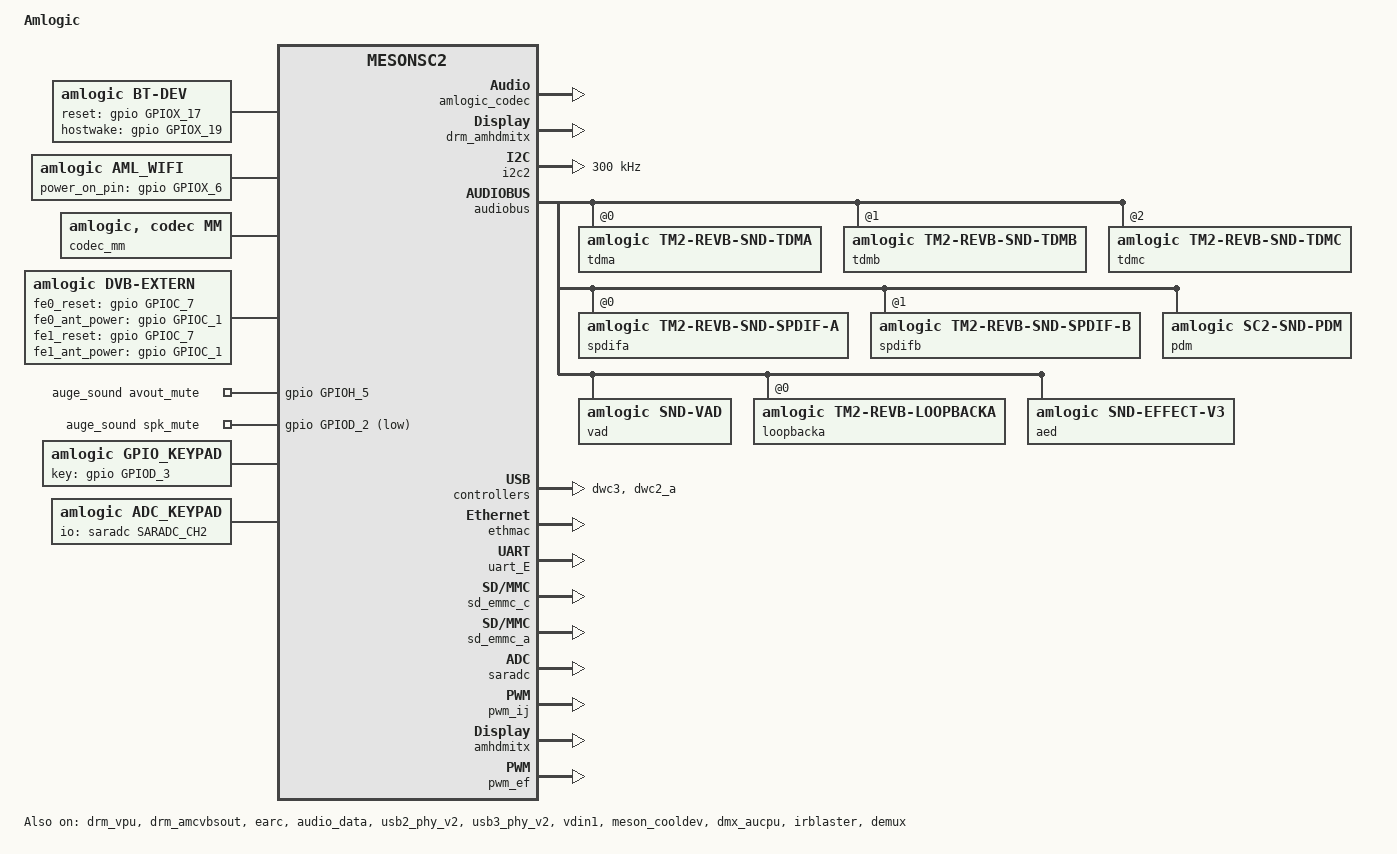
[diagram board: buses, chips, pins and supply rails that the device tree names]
/*
 * arch/arm/boot/dts/amlogic/sc2_s905x4_ah212_drm.dts
 *
 * Copyright (C) 2017 Amlogic, Inc. All rights reserved.
 *
 * This program is free software; you can redistribute it and/or modify
 * it under the terms of the GNU General Public License as published by
 * the Free Software Foundation; either version 2 of the License, or
 * (at your option) any later version.
 *
 * This program is distributed in the hope that it will be useful, but WITHOUT
 * ANY WARRANTY; without even the implied warranty of MERCHANTABILITY or
 * FITNESS FOR A PARTICULAR PURPOSE.  See the GNU General Public License for
 * more details.
 *
 */

/dts-v1/;

#include "mesonsc2.dtsi"
#include "mesonsc2_drm.dtsi"
#include "partition_mbox_normal_dynamic.dtsi"
//#include "mesonsm1_skt-panel.dtsi"

/ {
	model = "Amlogic";
	amlogic-dt-id = "sc2_s905x4_ah212";
	compatible = "amlogic, sc2";
	interrupt-parent = <&gic>;
	#address-cells = <1>;
	#size-cells = <1>;

	aliases {
		serial0 = &uart_B;
		serial1 = &uart_E;
		serial3 = &uart_C;
		serial4 = &uart_D;
		serial5 = &uart_A;
		tsensor0 = &p_tsensor;
		tsensor1 = &d_tsensor;
		i2c0 = &i2c0;
		i2c1 = &i2c1;
		i2c2 = &i2c2;
		i2c3 = &i2c3;
		spi0 = &spifc;
		spi1 = &spicc0;
		spi2 = &spicc1;
	};

	memory@00000000 {
		device_type = "memory";
		linux,usable-memory = <0x000000 0x80000000>;
	};

	reserved-memory {
		#address-cells = <1>;
		#size-cells = <1>;
		ranges;
		/* global autoconfigured region for contiguous allocations */
		ramoops@0x08400000 {
			compatible = "ramoops";
			reg = <0x08400000 0x00100000>;
			record-size = <0x8000>;
			console-size = <0x8000>;
			ftrace-size = <0x40000>;
		};

		secmon_reserved:linux,secmon {
			compatible = "shared-dma-pool";
			reusable;
			size = <0x3400000>;
			alignment = <0x400000>;
			alloc-ranges = <0x05000000 0x3400000>;
		};

		logo_reserved:linux,meson-fb {
			compatible = "shared-dma-pool";
			reusable;
			size = <0x800000>;
			alignment = <0x400000>;
			alloc-ranges = <0x7f800000 0x800000>;
		};
		dsp_fw_reserved:linux,dsp_fw {
			compatible = "shared-dma-pool";
			reusable;
			size = <0x00800000>;
			alignment = <0x400000>;
			alloc-ranges = <0x30000000 0x00800000>;
		};
		ion_cma_reserved:linux,ion-dev {
			compatible = "shared-dma-pool";
			reusable;
			size = <0x8000000>;
			alignment = <0x400000>;
			alloc-ranges = <0x30000000 0x50000000>;
			no-kernel-map;
		};

		//di_reserved:linux,di {
			//compatible = "amlogic, di-mem";
			/* buffer_size = 3621952(yuv422 8bit) */
			/* 4179008(yuv422 10bit full pack mode) */
			/** 10x3621952=34.6M(0x23) support 8bit **/
			/** 10x4736064=45.2M(0x2e) support 12bit **/
			/** 10x4179008=40M(0x28) support 10bit **/
			//size = <0x2800000>;
			//no-map;
		//};
		/*di CMA pool */
		di_cma_reserved:linux,di_cma {
			compatible = "shared-dma-pool";
			status = "disable";
			reusable;
			/* buffer_size = 3621952(yuv422 8bit)
			 *  | 4736064(yuv422 10bit)
			 *  | 4074560(yuv422 10bit full pack mode)
			 * 10x3621952=34.6M(0x23) support 8bit
			 * 10x4736064=45.2M(0x2e) support 12bit
			 * 10x4074560=40M(0x28) support 10bit
			 */
			//size = <0x0B000000>;
			size = <0x0>;
			alignment = <0x400000>;
		};
		/*  POST PROCESS MANAGER */
		ppmgr_reserved:linux,ppmgr {
			compatible = "shared-dma-pool";
			size = <0x0>;
		};

		codec_mm_cma:linux,codec_mm_cma {
			compatible = "shared-dma-pool";
			reusable;
			/* ion_codec_mm max can alloc size 80M*/
			size = <0x1b000000>;
			alignment = <0x400000>;
			linux,contiguous-region;
		};
		/* codec shared reserved */
		codec_mm_reserved:linux,codec_mm_reserved {
			compatible = "amlogic, codec-mm-reserved";
			size = <0x0>;
			alignment = <0x100000>;
			//no-map;
		};

		/*  vdin1 CMA pool */
		vdin1_cma_reserved:linux,vdin1_cma {
			compatible = "shared-dma-pool";
			reusable;
			/* 1920x1080x2x4  =16 M */
			size = <0x01000000>;
			alignment = <0x400000>;
		};

		vm0_cma_reserved:linux,vm0_cma {
			compatible = "shared-dma-pool";
			reusable;
			size = <0x2000000>;
			alignment = <0x400000>;
		};
	};

	cma_shrinker {
		compatible = "amlogic, cma-shrinker";
		status = "okay";
		adj  = <0 100 200 250 900 950>;
		free = <8192 12288 16384 24576 28672 32768>;
	};

	amlogic_battery:dummy-battery {
		compatible = "amlogic, dummy-battery";
		status = "disabled";
	};

	amlogic_charger:dummy-charger {
		compatible = "amlogic, dummy-charger";
		status = "disabled";
	};

	gpioleds {
		compatible = "gpio-leds";
		status = "disabled";

		net_red {
			label="net_red";
			/*gpios=<&gpio GPIOA_14 GPIO_ACTIVE_LOW>;*/
			default-state ="on";
		};

		net_green {
			label="net_green";
			/*gpios=<&gpio GPIOA_15 GPIO_ACTIVE_HIGH>;*/
			default-state ="on";
		};

		remote_led {
			label = "remote_led";
			/*gpios = <&gpio_ao GPIOAO_10 GPIO_ACTIVE_LOW>;*/
			default-state = "off";
			linux,default-trigger = "rc_feedback";
		};

		sys_led {
			label="sys_led";
			//gpios=<&gpio_ao GPIOAO_11 GPIO_ACTIVE_LOW>;
			default-state ="on";
		};
	};

	cvbsout {
		compatible = "amlogic, cvbsout-sc2";
		status = "okay";
		clock-names = "venci_top_gate",
			"venci_0_gate",
			"venci_1_gate",
			"vdac_clk_gate";
		/* clk path */
		/* 0:vid_pll vid2_clk */
		/* 1:gp0_pll vid2_clk */
		/* 2:vid_pll vid1_clk */
		/* 3:gp0_pll vid1_clk */
		clk_path = <0>;

		/* performance: reg_address, reg_value */
		performance_pal = <0x1bf0  0x3
			0x1b56  0x333
			0x1b12  0x8180
			0x1b05  0xf0
			0x1c59  0xed66
			0xffff  0x0>; /* ending flag */

	};

	bt-dev{
		compatible = "amlogic, bt-dev";
		dev_name = "bt-dev";
		status = "okay";
		gpio_reset = <&gpio       GPIOX_17       GPIO_ACTIVE_HIGH>;
		gpio_hostwake = <&gpio       GPIOX_19       GPIO_ACTIVE_HIGH>;
	};

	wifi{
		compatible = "amlogic, aml_wifi";
		dev_name = "aml_wifi";
		status = "okay";
		interrupt_pin = <&gpio       GPIOX_7       GPIO_ACTIVE_HIGH>;
		irq_trigger_type = "GPIO_IRQ_LOW";
		power_on_pin = <&gpio       GPIOX_6       GPIO_ACTIVE_HIGH>;
		pinctrl-names = "default";
		pinctrl-0 = <&pwm_e_pins>;
		pwm_config = <&wifi_pwm_conf>;
	};

	wifi_pwm_conf:wifi_pwm_conf{
		pwm_channel1_conf {
			pwms = <&pwm_ef MESON_PWM_0 30541 0>;
			duty-cycle = <15270>;
			times = <10>;
		};
		pwm_channel2_conf {
			pwms = <&pwm_ef MESON_PWM_2 30500 0>;
			duty-cycle = <15250>;
			times = <12>;
		};
	};

	picdec_cma_reserved:linux,picdec {
		compatible = "shared-dma-pool";
		reusable;
		size = <0x0>;
		alignment = <0x0>;
		linux,contiguous-region;
	};

	codec_mm {
		compatible = "amlogic, codec, mm";
		memory-region = <&codec_mm_cma &codec_mm_reserved>;
		dev_name = "codec_mm";
		status = "okay";
	};

	picdec {
		compatible = "amlogic, picdec";
		memory-region = <&picdec_cma_reserved>;
		dev_name = "picdec";
		status = "okay";
	};

	partitions: partitions{
		parts = <14>;
		part-0 = <&logo>;
		part-1 = <&recovery>;
		part-2 = <&misc>;
		part-3 = <&dto>;
		part-4 = <&cri_data>;
		part-5 = <&param>;
		part-6 = <&boot>;
		part-7 = <&rsv>;
		part-8 = <&tee>;
		part-9 = <&vendor>;
		part-10 = <&odm>;
		part-11 = <&system>;
		part-12 = <&cache>;
		part-13 = <&data>;

		logo:logo{
			pname = "logo";
			size = <0x0 0x800000>;
			mask = <1>;
		};
		recovery:recovery{
			pname = "recovery";
			size = <0x0 0x1800000>;
			mask = <1>;
		};
		misc:misc{
			pname = "misc";
			size = <0x0 0x800000>;
			mask = <1>;
		};
		dto:dto{
			pname = "dto";
			size = <0x0 0x800000>;
			mask = <1>;
		};
		cri_data:cri_data{
			pname = "cri_data";
			size = <0x0 0x800000>;
			mask = <2>;
		};
		rsv:rsv{
			pname = "rsv";
			size = <0x0 0x1000000>;
			mask = <1>;
		};
		param:param{
			pname = "param";
			size = <0x0 0x1000000>;
			mask = <2>;
		};
		boot:boot{
			pname = "boot";
			size = <0x0 0x1000000>;
			mask = <1>;
		};
		tee:tee{
			pname = "tee";
			size = <0x0 0x2000000>;
			mask = <1>;
		};
		vendor:vendor{
			pname = "vendor";
			size = <0x0 0x10000000>;
			mask = <1>;
		};
		odm:odm{
			pname = "odm";
			size = <0x0 0x10000000>;
			mask = <1>;
		};
		system:system{
			pname = "system";
			size = <0x0 0x80000000>;
			mask = <1>;
		};
		cache:cache{
			pname = "cache";
			size = <0x0 0x46000000>;
			mask = <2>;
		};
		data:data{
			pname = "data";
			size = <0xffffffff 0xffffffff>;
			mask = <4>;
		};
	};

	ppmgr {
		compatible = "amlogic, ppmgr";
		memory-region = <&ppmgr_reserved>;
		dev_name = "ppmgr";
		status = "okay";
	};

	multi-di {
		compatible = "amlogic, dim-sc2";
		status = "okay";
		/* 0:use reserved; 1:use cma; 2:use cma as reserved */
		flag_cma = <4>;	//<1>;
		//memory-region = <&di_reserved>;
		memory-region = <&di_cma_reserved>;
		interrupts = <0 203 1
				0 202 1>;
		interrupt-names = "pre_irq", "post_irq";
		clocks = <&clkc CLKID_VPU_CLKB_GATE>,
			<&clkc CLKID_VPU_CLKB_TMP_MUX>;
		clock-names = "vpu_clkb_gate",
			"vpu_clkb_tmp_mux";
		clock-range = <334 667>;
		/* buffer-size = <3621952>;(yuv422 8bit) */
		buffer-size = <4074560>;/*yuv422 fullpack*/
		/* reserve-iomap = "true"; */
		/* if enable nr10bit, set nr10bit-support to 1 */
		post-wr-support = <1>;
		nr10bit-support = <1>;
		nrds-enable = <1>;
		pps-enable = <1>;
	};
	ionvideo {
		compatible = "amlogic, ionvideo";
		dev_name = "ionvideo";
		status = "okay";
	};

	amlvideo2_0 {
		compatible = "amlogic, amlvideo2";
		dev_name = "amlvideo2";
		status = "okay";
		amlvideo2_id = <0>;
		cma_mode = <1>;
	};

	amlvideo2_1 {
		compatible = "amlogic, amlvideo2";
		dev_name = "amlvideo2";
		status = "okay";
		amlvideo2_id = <1>;
		cma_mode = <1>;
	};

	dvb-extern {
		compatible = "amlogic, dvb-extern";
		dev_name = "dvb-extern";
		status = "okay";

		fe_num = <1>;
		fe0_demod = "cxd2856";
		fe0_i2c_adap_id = <&i2c2>;
		fe0_demod_i2c_addr = <0xD8>;
		fe0_reset_value = <0>;
		fe0_reset_gpio = <&gpio GPIOC_7 GPIO_ACTIVE_HIGH>;
		fe0_reset_dir = <1>; /* 0: out, 1: in. */
		fe0_ant_poweron_value = <0>;
		fe0_ant_power_gpio = <&gpio GPIOC_1 GPIO_ACTIVE_HIGH>;
		fe0_ts  = <0>;
		fe0_tuner0 = <0>; /* T/C */
		fe0_tuner1 = <1>; /* S */

		fe1_demod = "cxd2856";
		fe1_i2c_adap_id = <&i2c2>;
		fe1_demod_i2c_addr = <0xCA>;
		fe1_reset_value = <0>;
		fe1_reset_gpio = <&gpio GPIOC_7 GPIO_ACTIVE_HIGH>;
		fe1_reset_dir = <1>; /* 0: out, 1: in. */
		fe1_ant_poweron_value = <0>;
		fe1_ant_power_gpio = <&gpio GPIOC_1 GPIO_ACTIVE_HIGH>;
		fe1_ts  = <1>;
		fe1_tuner0 = <0>; /* T/C */
		fe1_tuner1 = <1>; /* S */

		tuner_num = <2>; /* for extern demod use tuner */
		tuner0_name = "r836_tuner";
		tuner1_name = "av2018_tuner";
	};

	demux {
		compatible = "amlogic sc2, dvb-demux";
		dev_name = "dvb-demux";
		status = "okay";

		reg = <0xfe000000 0x480000>;

		dmxdev_num = <4>;

		tsn_from = "demod";

		/*single demod setting */
		ts0_sid = <0x20>;
		ts0 = "serial-4wire"; /* tsinA: serial-4wire, serial-3wire */
		ts0_control = <0x0>;
		ts0_invert = <0>;

		ts1_sid = <0x21>;
		ts1 = "serial-4wire";
		ts1_control = <0x0>;
		ts1_invert = <0>;

		pinctrl-names = "s_ts0", "s_ts1";
		pinctrl-0 = <&dvb_s_ts0_pins>;
		pinctrl-1 = <&dvb_s_ts1_pins>;
	};

	/* SMC */
	smartcard {
		compatible = "amlogic,smartcard";
		dev_name = "smartcard";
		status = "disabled";

		reg = <0xfe000000 0x480000>;
		clocks = <&clkc CLKID_SMARTCARD>;
		clock-names = "smartcard";
	};

	unifykey{
		compatible = "amlogic, unifykey";
		status = "okay";
		unifykey-num = <20>;
		unifykey-index-0 = <&keysn_0>;
		unifykey-index-1 = <&keysn_1>;
		unifykey-index-2 = <&keysn_2>;
		unifykey-index-3 = <&keysn_3>;
		unifykey-index-4 = <&keysn_4>;
		unifykey-index-5 = <&keysn_5>;
		unifykey-index-6 = <&keysn_6>;
		unifykey-index-7 = <&keysn_7>;
		unifykey-index-8 = <&keysn_8>;
		unifykey-index-9 = <&keysn_9>;
		unifykey-index-10= <&keysn_10>;
		unifykey-index-11= <&keysn_11>;
		unifykey-index-12= <&keysn_12>;
		unifykey-index-13= <&keysn_13>;
		unifykey-index-14= <&keysn_14>;
		unifykey-index-15= <&keysn_15>;
		unifykey-index-16= <&keysn_16>;
		unifykey-index-17= <&keysn_17>;
		unifykey-index-18= <&keysn_18>;
		unifykey-index-19= <&keysn_19>;

		keysn_0: key_0{
			key-name = "usid";
			key-device = "normal";
			key-permit = "read","write","del";
		};
		keysn_1:key_1{
			key-name = "mac";
			key-device = "normal";
			key-permit = "read","write","del";
		};
		keysn_2:key_2{
			key-name = "hdcp";
			key-device = "secure";
			key-type = "sha1";
			key-permit = "read","write","del";
		};
		keysn_3:key_3{
			key-name = "secure_boot_set";
			key-device = "efuse";
			key-permit = "write";
		};
		keysn_4:key_4{
			key-name = "mac_bt";
			key-device = "normal";
			key-permit = "read","write","del";
			key-type  = "mac";
		};
		keysn_5:key_5{
			key-name = "mac_wifi";
			key-device = "normal";
			key-permit = "read","write","del";
			key-type = "mac";
		};
		keysn_6:key_6{
			key-name = "hdcp2_tx";
			key-device = "normal";
			key-permit = "read","write","del";
		};
		keysn_7:key_7{
			key-name = "hdcp2_rx";
			key-device = "normal";
			key-permit = "read","write","del";
		};
		keysn_8:key_8{
			key-name = "widevinekeybox";
			key-device = "secure";
			key-permit = "read","write","del";
		};
		keysn_9:key_9{
			key-name = "deviceid";
			key-device = "normal";
			key-permit = "read","write","del";
		};
		keysn_10:key_10{
			key-name = "hdcp22_fw_private";
			key-device = "secure";
			key-permit = "read","write","del";
		};
		keysn_11:key_11{
			key-name = "PlayReadykeybox25";
			key-device = "secure";
			key-permit = "read","write","del";
		};
		keysn_12:key_12{
			key-name = "prpubkeybox";// PlayReady
			key-device = "secure";
			key-permit = "read","write","del";
		};
		keysn_13:key_13{
			key-name = "prprivkeybox";// PlayReady
			key-device = "secure";
			key-permit = "read","write","del";
		};
		keysn_14:key_14{
			key-name = "attestationkeybox";// attestation key
			key-device = "secure";
			key-permit = "read","write","del";
		};
		keysn_15:key_15{
			key-name = "region_code";
			key-device = "normal";
			key-permit = "read","write","del";
		};
		keysn_16:key_16{
			key-name = "netflix_mgkid";
			key-device = "secure";
			key-permit = "read","write","del";
		};
		keysn_17:key_17{
			key-name = "attestationdevidbox";// attest dev id box
			key-device = "secure";
			key-permit = "read","write","del";
		};
		keysn_18:key_18{
			key-name = "oemkey";
			key-device = "normal";
			key-permit = "read","write","del";
		};
		keysn_19:key_19{
			key-name = "KEY_PROVISION_XXX";
			key-device = "provision";
			key-permit = "write";
		};
	};//End unifykey

	efusekey:efusekey{
		keynum = <4>;
		key0 = <&key_0>;
		key1 = <&key_1>;
		key2 = <&key_2>;
		key3 = <&key_3>;
		key_0:key_0{
			keyname = "mac";
			offset = <0>;
			size = <6>;
		};
		key_1:key_1{
			keyname = "mac_bt";
			offset = <6>;
			size = <6>;
		};
		key_2:key_2{
			keyname = "mac_wifi";
			offset = <12>;
			size = <6>;
		};
		key_3:key_3{
			keyname = "usid";
			offset = <18>;
			size = <16>;
		};
	};//End efusekey

	amlvecm {
		compatible = "amlogic, vecm";
		dev_name = "aml_vecm";
		status = "okay";
		gamma_en = <0>;/*1:enabel ;0:disable*/
		wb_en = <0>;/*1:enabel ;0:disable*/
		cm_en = <0>;/*1:enabel ;0:disable*/
		/*0: 709/601  1: bt2020*/
		tx_op_color_primary = <0>;
	};

	amdolby_vision {
		compatible = "amlogic, dolby_vision_sc2";
		dev_name = "aml_amdolby_vision_driver";
		status = "okay";
		tv_mode = <0>;/*1:enabel ;0:disable*/
	};

	/* Audio Related start */
	pdm_codec:dummy{
		#sound-dai-cells = <0>;
		compatible = "amlogic, pdm_dummy_codec";
		status = "okay";
	};
	dummy_codec:dummy{
		#sound-dai-cells = <0>;
		compatible = "amlogic, aml_dummy_codec";
		status = "okay";
	};
	amlogic_codec:t9015{
		#sound-dai-cells = <0>;
		compatible = "amlogic, sc2_codec_T9015";
		reg = <0xFE01A000 0x2000>;
		is_auge_used = <1>; /* meson or auge chipset used */
		tocodec_inout = <1>;
		tdmout_index = <1>;
		ch0_sel = <0>;
		ch1_sel = <1>;

		reset-names = "acodec";
		resets = <&reset RESET_ACODEC>;

		status = "okay";
	};
	audio_effect:eqdrc{
		/*eq_enable = <1>;*/
		/*drc_enable = <1>;*/
		/*
		 * 0:tdmout_a
		 * 1:tdmout_b
		 * 2:tdmout_c
		 * 3:spdifout
		 * 4:spdifout_b
		 */
		eqdrc_module = <1>;
		/* max 0xf, each bit for one lane, usually one lane */
		lane_mask = <0x1>;
		/* max 0xff, each bit for one channel */
		channel_mask = <0x3>;
	};
	auge_sound {
		compatible = "amlogic, g12a-sound-card";
		aml-audio-card,name = "AML-AUGESOUND";

		/*avout mute gpio*/
		avout_mute-gpios = <&gpio GPIOH_5 GPIO_ACTIVE_HIGH>;

		spk_mute-gpios = <&gpio GPIOD_2 GPIO_ACTIVE_LOW>;

		aml-audio-card,dai-link@0 {
			format = "dsp_a";
			mclk-fs = <512>;
			//continuous-clock;
			//bitclock-inversion;
			//frame-inversion;
			/* master mode */
			bitclock-master = <&tdma>;
			frame-master = <&tdma>;
			/* slave mode */
			/*
			 * bitclock-master = <&tdmacodec>;
			 * frame-master = <&tdmacodec>;
			 */
			suffix-name = "alsaPORT-pcm";
			tdmacpu: cpu {
				sound-dai = <&tdma>;
				dai-tdm-slot-tx-mask =
							<1>;
				dai-tdm-slot-rx-mask =
							<1>;
				dai-tdm-slot-num = <2>;
				dai-tdm-slot-width = <16>;
				system-clock-frequency = <256000>;
			};
			tdmacodec: codec {
				sound-dai = <&dummy_codec>;
			};
		};

		aml-audio-card,dai-link@1 {
			format = "i2s";// "dsp_a";
			mclk-fs = <256>;
			//continuous-clock;
			//bitclock-inversion;
			//frame-inversion;
			/* master mode */
			bitclock-master = <&tdmb>;
			frame-master = <&tdmb>;
			/* slave mode */
			//bitclock-master = <&tdmbcodec>;
			//frame-master = <&tdmbcodec>;
			/* suffix-name, sync with android audio hal
			 * what's the dai link used for
			 */
			suffix-name = "alsaPORT-i2s";
			cpu {
				sound-dai = <&tdmb>;
				dai-tdm-slot-tx-mask = <1 1>;
				dai-tdm-slot-rx-mask = <1 1>;
				dai-tdm-slot-num = <2>;
				/*
				 * dai-tdm-slot-tx-mask =
				 *	<1 1 1 1 1 1 1 1>;
				 * dai-tdm-slot-rx-mask =
				 *	<1 1 1 1 1 1 1 1>;
				 * dai-tdm-slot-num = <8>;
				 */
				dai-tdm-slot-width = <32>;
				system-clock-frequency = <12288000>;
			};
			tdmbcodec: codec {
				sound-dai = <&dummy_codec &dummy_codec
				&amlogic_codec /*&ad82584f_62*/>;
			};
		};

		aml-audio-card,dai-link@2 {
			format = "i2s";
			mclk-fs = <256>;
			//continuous-clock;
			//bitclock-inversion;
			//frame-inversion;
			/* master mode */
			bitclock-master = <&tdmc>;
			frame-master = <&tdmc>;
			/* slave mode */
			//bitclock-master = <&tdmccodec>;
			//frame-master = <&tdmccodec>;
			/* suffix-name, sync with android audio hal used for */
			suffix-name = "alsaPORT-i2s2hdmi";
			cpu {
				sound-dai = <&tdmc>;
				dai-tdm-slot-tx-mask = <1 1>;
				dai-tdm-slot-rx-mask = <1 1>;
				dai-tdm-slot-num = <2>;
				dai-tdm-slot-width = <32>;
				system-clock-frequency = <12288000>;
			};
			tdmccodec: codec {
				sound-dai = <&dummy_codec>;
			};
		};

		aml-audio-card,dai-link@3 {
			mclk-fs = <64>;
			/* suffix-name, sync with android audio hal
			 * what's the dai link used for
			 */
			suffix-name = "alsaPORT-pdm-builtinmic";
			cpu {
				sound-dai = <&pdm>;
			};
			codec {
				sound-dai = <&pdm_codec>;
			};
		};

		aml-audio-card,dai-link@4 {
			mclk-fs = <128>;
			/* suffix-name, sync with android audio hal used for */
			suffix-name = "alsaPORT-spdif";
			cpu {
				sound-dai = <&spdifa>;
				system-clock-frequency = <6144000>;
			};
			codec {
				sound-dai = <&dummy_codec>;
			};
		};
		/* spdif_b to hdmi, only playback */
		aml-audio-card,dai-link@5 {
			mclk-fs = <128>;
			continuous-clock;
			/* suffix-name, sync with android audio hal
			 * what's the dai link used for
			 */
			suffix-name = "alsaPORT-spdifb";
			cpu {
				sound-dai = <&spdifb>;
				system-clock-frequency = <6144000>;
			};
			codec {
				sound-dai = <&dummy_codec>;
			};
		};
		aml-audio-card,dai-link@6 {
			mclk-fs = <256>;
			suffix-name = "alsaPORT-earc";
			cpu {
				sound-dai = <&earc>;
				system-clock-frequency = <12288000>;
			};
			codec {
				sound-dai = <&dummy_codec>;
			};
		};

		aml-audio-card,dai-link@7 {
			mclk-fs = <256>;
			continuous-clock;
			suffix-name = "alsaPORT-loopback";
			cpu {
				sound-dai = <&loopbacka>;
				system-clock-frequency = <12288000>;
			};
			codec {
				sound-dai = <&dummy_codec>;
			};
		};
	};
	audiolocker: locker {
		compatible = "amlogic, audiolocker";
		clocks = <&clkaudio CLKID_AUDIO_LOCKER_OUT
				&clkaudio CLKID_AUDIO_LOCKER_IN
				&clkaudio CLKID_AUDIO_MCLK_D
				&clkaudio CLKID_AUDIO_MCLK_E
				&clkc CLKID_MPLL1
				&clkc CLKID_MPLL2>;
		clock-names = "lock_out", "lock_in", "out_src",
					"in_src", "out_calc", "in_ref";
		interrupts = <GIC_SPI 1 IRQ_TYPE_EDGE_RISING>;
		interrupt-names = "irq";
		frequency = <49000000>; /* pll */
		dividor = <49>; /* locker's parent */
		status = "disabled";
	};
	/* Audio Related end */

	cpu_opp_table0: cpu_opp_table0 {
		compatible = "operating-points-v2";
		status = "okay";
		opp-shared;

		opp00 {
			opp-hz = /bits/ 64 <100000000>;
			opp-microvolt = <779000>;
		};
		opp01 {
			opp-hz = /bits/ 64 <250000000>;
			opp-microvolt = <779000>;
		};
		opp02 {
			opp-hz = /bits/ 64 <500000000>;
			opp-microvolt = <779000>;
		};
		opp03 {
			opp-hz = /bits/ 64 <667000000>;
			opp-microvolt = <799000>;
		};
		opp04 {
			opp-hz = /bits/ 64 <1000000000>;
			opp-microvolt = <819000>;
		};
		opp05 {
			opp-hz = /bits/ 64 <1200000000>;
			opp-microvolt = <829000>;
		};
		opp06 {
			opp-hz = /bits/ 64 <1404000000>;
			opp-microvolt = <839000>;
		};
		opp07 {
			opp-hz = /bits/ 64 <1500000000>;
			opp-microvolt = <849000>;
		};
		opp08 {
			opp-hz = /bits/ 64 <1608000000>;
			opp-microvolt = <879000>;
		};
		opp09 {
			opp-hz = /bits/ 64 <1704000000>;
			opp-microvolt = <919000>;
		};
		opp10 {
			opp-hz = /bits/ 64 <1800000000>;
			opp-microvolt = <959000>;
		};
		opp11 {
			opp-hz = /bits/ 64 <1908000000>;
			opp-microvolt = <1019000>;
		};
		opp12 {
			opp-hz = /bits/ 64 <2000000000>;
			opp-microvolt = <1049000>;
		};
	};

	cpufreq-meson {
		compatible = "amlogic, cpufreq-meson";
		status = "okay";
	};

	gpio_keypad{
		compatible = "amlogic, gpio_keypad";
		status = "okay";
		scan_period = <20>;
		key_num = <1>;
		key_name = "bluetooth";
		key_code = <600>;
		key-gpios = <&gpio  GPIOD_3  GPIO_ACTIVE_HIGH>;
		detect_mode = <0>;/*0:polling mode, 1:irq mode*/
	};

	adc_keypad {
		compatible = "amlogic, adc_keypad";
		status = "okay";
		key_name = "menu", "vol-", "vol+", "esc", "home";
		key_num = <5>;
		io-channels = <&saradc SARADC_CH2>;
		io-channel-names = "key-chan-2";
		key_chan = <SARADC_CH2 SARADC_CH2 SARADC_CH2
			SARADC_CH2 SARADC_CH2>;
		key_code = <139 114 115 1 102>;
		key_val = <0 143 266 389 512>; //val=voltage/1800mV*1023
		key_tolerance = <40 40 40 40 40>;
	};

}; /* end of / */

&vddcpu0 {
	pinctrl-names = "default";
	pinctrl-0 = <&pwm_j_pins1>;
	status = "okay";
};

&meson_fb {
	status = "disabled";
	display_size_default = <1920 1080 1920 2160 32>;
	mem_size = <0x00800000 0x1980000 0x100000 0x100000 0x800000>;
	logo_addr = "0x7f800000";
	mem_alloc = <0>;
	pxp_mode = <0>; /** 0:normal mode 1:pxp mode */
};

&drm_vpu {
	status = "okay";
	logo_addr = "0x7f800000";
};

&drm_amhdmitx {
	status = "okay";
	hdcp = "disabled";
};

&drm_amcvbsout {
	status = "okay";
};

&drm_lcd {
	status = "disabled";
};

&i2c0 {
	status = "disabled";
	pinctrl-names="default";
	pinctrl-0=<&i2c0_master_pins2>;
	clock-frequency = <400000>;

	gt9xx@5d {
		compatible = "goodix,gt9xx";
		status = "disabled";
		reg = <0x5d>;
		reset-gpio = <&gpio GPIOZ_9 0x00>;
		irq-gpio = <&gpio GPIOZ_3 0x00>;
	};

	ftxx@38 {
		compatible = "focaltech,fts";
		status = "disabled";
		reg = <0x38>;
		reset-gpio = <&gpio GPIOZ_9 0x00>;
		irq-gpio = <&gpio GPIOZ_3 0x00>;
		x_max = <600>;
		y_max = <1024>;
		max-touch-number = <10>;
	};
};

&i2c2 {
	status = "okay";
	pinctrl-names="default";
	pinctrl-0=<&i2c2_master_pins3>;
	clock-frequency = <300000>;
};

&i2c3 {
	status = "disabled";
	pinctrl-names="default";
	pinctrl-0=<&i2c3_master_pins2>;
	clock-frequency = <300000>; /* default 100k */

	/* for ref board */
	ad82584f_62: ad82584f_62@62 {
		compatible = "ESMT, ad82584f";
		#sound-dai-cells = <0>;
		reg = <0x31>;
		status = "disabled";
		//reset_pin = <&gpio GPIOA_5 0>;
		no_mclk;
	};

	bl_extern_i2c {
		compatible = "bl_extern, i2c";
		dev_name = "lp8556";
		reg = <0x2c>;
		status = "disabled";
	};
};

&audiobus {
	tdma: tdm@0 {
		compatible = "amlogic, tm2-revb-snd-tdma";
		#sound-dai-cells = <0>;
		dai-tdm-lane-slot-mask-in = <0 1>;
		dai-tdm-oe-lane-slot-mask-out = <1 0>;
		dai-tdm-clk-sel = <0>;
		clocks = <&clkaudio CLKID_AUDIO_MCLK_A
				&clkc CLKID_MPLL0>;
		clock-names = "mclk", "clk_srcpll";
		pinctrl-names = "tdm_pins";
		pinctrl-0 = <&tdm_a
			&tdm_d3_pins
			&tdm_d4_pins
			&tdm_clk_pins>;

		status = "okay";
	};

	tdmb: tdm@1 {
		compatible = "amlogic, tm2-revb-snd-tdmb";
		#sound-dai-cells = <0>;
		dai-tdm-lane-slot-mask-in = <0 1 0 0>;
		dai-tdm-lane-slot-mask-out = <1 0 0 0>;
		dai-tdm-clk-sel = <1>;
		clocks = <&clkaudio CLKID_AUDIO_MCLK_B
				&clkaudio CLKID_AUDIO_MCLK_PAD0
				&clkc CLKID_MPLL1
				&clkc CLKID_MPLL0
				&clkaudio CLKID_AUDIO_SPDIFOUT_A>;
		clock-names = "mclk", "mclk_pad", "clk_srcpll",
			"samesource_srcpll", "samesource_clk";
		pinctrl-names = "tdm_pins";
		pinctrl-0 = </*&tdmb_mclk &tdmout_b &tdmin_b*/>;

		/*
		 * 0: tdmout_a;
		 * 1: tdmout_b;
		 * 2: tdmout_c;
		 * 3: spdifout;
		 * 4: spdifout_b;
		 */
		samesource_sel = <3>;

		/*enable default mclk(12.288M), before extern codec start*/
		start_clk_enable = <1>;

		/*tdm clk tuning enable*/
		clk_tuning_enable = <1>;

		status = "okay";
	};

	tdmc: tdm@2 {
		compatible = "amlogic, tm2-revb-snd-tdmc";
		#sound-dai-cells = <0>;
		dai-tdm-lane-slot-mask-out = <1 1 1 1>;
		dai-tdm-clk-sel = <2>;

		clocks = <&clkaudio CLKID_AUDIO_MCLK_C
				&clkc CLKID_MPLL2>;
		clock-names = "mclk", "clk_srcpll";
		i2s2hdmi = <1>;
		status = "okay";
	};

	spdifa: spdif@0 {
		compatible = "amlogic, tm2-revb-snd-spdif-a";
		#sound-dai-cells = <0>;
		clocks = <&clkc CLKID_MPLL0
				&clkc CLKID_FCLK_DIV4
				&clkaudio CLKID_AUDIO_GATE_SPDIFIN
				&clkaudio CLKID_AUDIO_GATE_SPDIFOUT_A
				&clkaudio CLKID_AUDIO_SPDIFIN
				&clkaudio CLKID_AUDIO_SPDIFOUT_A>;
		clock-names = "sysclk", "fixed_clk", "gate_spdifin",
				"gate_spdifout", "clk_spdifin", "clk_spdifout";
		interrupts =
				<GIC_SPI 35 IRQ_TYPE_EDGE_RISING>;

		interrupt-names = "irq_spdifin";
		pinctrl-names = "spdif_pins", "spdif_pins_mute";
		pinctrl-0 = <&spdifout>;
		pinctrl-1 = <&spdifout_a_mute>;

		/*spdif clk tuning enable*/
		clk_tuning_enable = <1>;

		status = "okay";
	};
	spdifb: spdif@1 {
		compatible = "amlogic, tm2-revb-snd-spdif-b";
		#sound-dai-cells = <0>;
		clocks = <&clkc CLKID_MPLL2 /*CLKID_HIFI_PLL*/
				&clkaudio CLKID_AUDIO_GATE_SPDIFOUT_B
				&clkaudio CLKID_AUDIO_SPDIFOUT_B>;
		clock-names = "sysclk",
				"gate_spdifout", "clk_spdifout";

		status = "okay";
	};
	pdm: pdm {
		compatible = "amlogic, sc2-snd-pdm";
		#sound-dai-cells = <0>;

		clocks = <&clkaudio CLKID_AUDIO_GATE_PDM
			&clkc CLKID_FCLK_DIV3
			&clkc CLKID_MPLL3
			&clkaudio CLKID_AUDIO_PDMIN0
			&clkaudio CLKID_AUDIO_PDMIN1>;
		clock-names = "gate",
			"sysclk_srcpll",
			"dclk_srcpll",
			"pdm_dclk",
			"pdm_sysclk";

		pinctrl-names = "pdm_pins";
		pinctrl-0 = <&pdmin>;

		/* mode 0~4, defalut:1 */
		filter_mode = <1>;

		train_sample_count = <0xe>;

		status = "okay";
	};

	asrca: resample@0 {
		compatible = "amlogic, tm2-revb-resample-a";
		clocks = <&clkc CLKID_MPLL3
				&clkaudio CLKID_AUDIO_MCLK_F
				&clkaudio CLKID_AUDIO_RESAMPLE_A>;
		clock-names = "resample_pll", "resample_src", "resample_clk";
		/*same with toddr_src
		 *	TDMIN_A, 0
		 *	TDMIN_B, 1
		 *	TDMIN_C, 2
		 *	SPDIFIN, 3
		 *	PDMIN,  4
		 *	NONE,
		 *	TDMIN_LB, 6
		 *	LOOPBACK, 7
		 */
		resample_module = <4>;
		status = "disabled";
	};

	vad:vad {
		compatible = "amlogic, snd-vad";
		#sound-dai-cells = <0>;

		clocks = <&clkaudio CLKID_AUDIO_GATE_TOVAD
			&clkc CLKID_FCLK_DIV5
			&clkaudio CLKID_AUDIO_VAD>;
		clock-names = "gate", "pll", "clk";

		interrupts = <GIC_SPI 39 IRQ_TYPE_EDGE_RISING
				GIC_SPI 44 IRQ_TYPE_EDGE_RISING>;
		interrupt-names = "irq_wakeup", "irq_frame_sync";

		/*
		 * Data src sel:
		 * 0: tdmin_a;
		 * 1: tdmin_b;
		 * 2: tdmin_c;
		 * 3: spdifin;
		 * 4: pdmin;
		 * 5: loopback_b;
		 * 6: tdmin_lb;
		 * 7: loopback_a;
		 */
		src = <4>;

		/*
		 * deal with hot word in user space or kernel space
		 * 0: in user space
		 * 1: in kernel space
		 */
		level = <1>;

		status = "okay";
	};

	loopbacka:loopback@0 {
		compatible = "amlogic, tm2-revb-loopbacka";
		#sound-dai-cells = <0>;

		clocks = <&clkaudio CLKID_AUDIO_GATE_PDM
			&clkc CLKID_FCLK_DIV3
			&clkc CLKID_MPLL3
			&clkaudio CLKID_AUDIO_PDMIN0
			&clkaudio CLKID_AUDIO_PDMIN1
			&clkc CLKID_MPLL0
			&clkaudio CLKID_AUDIO_MCLK_A>;
		clock-names = "pdm_gate",
			"pdm_sysclk_srcpll",
			"pdm_dclk_srcpll",
			"pdm_dclk",
			"pdm_sysclk",
			"tdminlb_mpll",
			"tdminlb_mclk";

		/* datain src
		 * 0: tdmin_a;
		 * 1: tdmin_b;
		 * 2: tdmin_c;
		 * 3: spdifin;
		 * 4: pdmin;
		 */
		datain_src = <4>;
		datain_chnum = <2>;
		datain_chmask = <0x3>;
		/* config which data pin for loopback */
		datain-lane-mask-in = <1 0 0 0>;

		/* calc mclk for datalb */
		mclk-fs = <256>;

		/* tdmin_lb src
		 * 0: tdmoutA
		 * 1: tdmoutB
		 * 2: tdmoutC
		 * 3: PAD_TDMINA_DIN*, refer to core pinmux
		 * 4: PAD_TDMINB_DIN*, refer to core pinmux
		 * 5: PAD_TDMINC_DIN*, refer to core pinmux
		 * 6: PAD_TDMINA_D*, oe, refer to core pinmux
		 * 7: PAD_TDMINB_D*, oe, refer to core pinmux
		 */
		/* if tdmin_lb >= 3, use external loopback */
		datalb_src = <1>;
		datalb_chnum = <2>;
		datalb_chmask = <0x3>;
		/* config which data pin as loopback */
		datalb-lane-mask-in = <1 0 0 0>;

		status = "okay";
	};

	loopbackb:loopback@1 {
		compatible = "amlogic, tm2-revb-loopbackb";
		#sound-dai-cells = <0>;

		clocks = <&clkaudio CLKID_AUDIO_GATE_PDM
			&clkc CLKID_FCLK_DIV3
			&clkc CLKID_MPLL3
			&clkaudio CLKID_AUDIO_PDMIN0
			&clkaudio CLKID_AUDIO_PDMIN1
			&clkc CLKID_MPLL0
			&clkaudio CLKID_AUDIO_MCLK_A>;
		clock-names = "pdm_gate",
			"pdm_sysclk_srcpll",
			"pdm_dclk_srcpll",
			"pdm_dclk",
			"pdm_sysclk",
			"tdminlb_mpll",
			"tdminlb_mclk";

		/* calc mclk for datain_lb */
		mclk-fs = <256>;

		/* datain src
		 * 0: tdmin_a;
		 * 1: tdmin_b;
		 * 2: tdmin_c;
		 * 3: spdifin;
		 * 4: pdmin;
		 */
		datain_src = <4>;
		datain_chnum = <4>;
		datain_chmask = <0xf>;
		/* config which data pin for loopback */
		datain-lane-mask-in = <1 0 1 0>;

		/* tdmin_lb src
		 * 0: tdmoutA
		 * 1: tdmoutB
		 * 2: tdmoutC
		 * 3: PAD_TDMINA_DIN*, refer to core pinmux
		 * 4: PAD_TDMINB_DIN*, refer to core pinmux
		 * 5: PAD_TDMINC_DIN*, refer to core pinmux
		 * 6: PAD_TDMINA_D*, oe, refer to core pinmux
		 * 7: PAD_TDMINB_D*, oe, refer to core pinmux
		 */
		/* if tdmin_lb >= 3, use external loopback */
		datalb_src = <1>;
		datalb_chnum = <2>;
		datalb_chmask = <0x3>;
		/* config which data pin as loopback */
		datalb-lane-mask-in = <1 0 0 0>;

		status = "disabled";
	};

	aed:effect {
		compatible = "amlogic, snd-effect-v3";
		#sound-dai-cells = <0>;

		clocks = <&clkaudio CLKID_AUDIO_GATE_EQDRC
			&clkc CLKID_FCLK_DIV5
			&clkaudio CLKID_AUDIO_EQDRC>;
		clock-names = "gate", "srcpll", "eqdrc";

		/*
		 * 0:tdmout_a
		 * 1:tdmout_b
		 * 2:tdmout_c
		 * 3:spdifout
		 * 4:spdifout_b
		 */
		eqdrc_module = <1>;
		/* max 0xf, each bit for one lane, usually one lane */
		lane_mask = <0x1>;
		/* max 0xff, each bit for one channel */
		channel_mask = <0x3>;
		status = "okay";
	};
}; /* end of audiobus */

&earc {
	status = "okay";
};

&pinctrl_audio {
	tdm_d3_pins: tdm_d3_pin {
		mux {
			groups = "tdm_d3";
			function = "tdmina_lane1";
		};
	};

	tdm_d4_pins: tdm_d4_pin {
		mux {
			groups = "tdm_d4";
			function = "tdmouta_lane0";
		};
	};

	tdm_clk_pins: tdm_clk_pin {
		mux {
			groups = "tdm_sclk0", "tdm_lrclk0";
			function = "tdm_clk_outa";
		};
	};
};

&pinctrl_periphs {
	tdm_a: tdm_a {
		mux { /* GPIOX_11, GPIOX_10, GPIOX_8, GPIOX_9 */
			groups = "tdm_sclk0",
				"tdm_fs0",
				"tdm_d3",
				"tdm_d4";
			function = "tdm";
		};
	};

	tdmin_a: tdmin_a {
		mux { /* GPIOX_8 */
			groups = "tdma_din1";
			function = "tdma_in";
		};
	};

	tdmb_mclk: tdmb_mclk {
		mux {
			groups = "mclk0_a";
			function = "mclk0";
			drive-strength = <2>;
		};
	};
	tdmout_b: tdmout_b {
		mux { /* GPIOA_1, GPIOA_2, GPIOA_3 */
			groups = "tdmb_sclk",
				"tdmb_fs",
				"tdmb_dout0";
			function = "tdmb_out";
			drive-strength = <2>;
		};
	};

	tdmin_b:tdmin_b {
		mux { /* GPIOA_4 */
			groups = "tdmb_din1"
				/*,"tdmb_slv_sclk", "tdmb_slv_fs"*/;
			function = "tdmb_in";
			drive-strength = <2>;
		};
	};

	tdmc_mclk: tdmc_mclk {
		mux { /* GPIOA_11 */
			groups = "mclk1_a";
			function = "mclk1";
		};
	};

	tdmout_c:tdmout_c {
		mux { /* GPIOA_12, GPIOA_13, GPIOA_8, GPIOA_7*/
			groups = "tdmc_sclk_a",
				"tdmc_fs_a",
				"tdmc_dout0_a"
				/*,	"tdmc_dout2",
				 * "tdmc_dout3"
				 */;
			function = "tdmc_out";
		};
	};

	tdmin_c:tdmin_c {
		mux { /* GPIOA_10 */
			groups = "tdmc_din0_a";
			function = "tdmc_in";
		};
	};

	spdifin: spdifin {
		mux {/* GPIOH_5 */
			groups = "spdif_in_h";
			function = "spdif_in";
		};
	};

	pdmin: pdmin {
		mux { /* GPIOC_0, GPIOC_4 */
			groups = "pdm_din0_c",
			"pdm_dclk_c";
			function = "pdm";
		};
	};

	bl_pwm_off_pins:bl_pwm_off_pin {
		mux {
			pins = "GPIOH_5";
			function = "gpio_periphs";
			output-high;
		};
	};

	clk12_24_z_pins:clk12_24_z_pins {
		mux {
			groups = "clk12_24_z";
			function = "clk12_24_ee";
			drive-strength = <3>;
		};
	};

	gen_clk_ee_z: gen_clk_ee_z {
		mux {
			groups="gen_clk_ee_z";
			function="gen_clk_ee";
			drive-strength = <3>;
		};
	};

	cam_dvp_pins:cam_dvp_pins {
		mux {
			groups = "bt656_a_vs", "bt656_a_hs", "bt656_a_clk",
				"bt656_a_din0", "bt656_a_din1", "bt656_a_din2",
				"bt656_a_din3", "bt656_a_din4", "bt656_a_din5",
				"bt656_a_din6", "bt656_a_din7";
			function = "bt656";
		};
	};

	spdifout: spdifout {
		mux { /* GPIOD_10 */
			groups = "spdif_out_d";
			function = "spdif_out";
		};
	};

	spdifout_a_mute: spdifout_a_mute {
		mux { /* GPIOD_10 */
			groups = "GPIOD_10";
			function = "gpio_periphs";
		};
	};

	dvb_s_ts0_pins: dvb_s_ts0_pins {
		tsin_a {
			groups = "tsin_a_sop_d",
				"tsin_a_valid_d",
				"tsin_a_clk_d",
				"tsin_a_din0_d";
			function = "tsin_a";
		};
	};

	dvb_s_ts1_pins: dvb_s_ts1_pins {
		tsin_b {
			groups = "tsin_b_sop",
				"tsin_b_valid",
				"tsin_b_clk",
				"tsin_b_din0";
			function = "tsin_b";
		};
	};

	dvb_s_ts2_pins: dvb_s_ts2_pins {
		tsin_c {
			groups = "tsin_c_sop_z",
				"tsin_c_valid_z",
				"tsin_c_clk_z",
				"tsin_c_din0_z";
			function = "tsin_c";
		};
	};

	dvb_s_ts3_pins: dvb_s_ts3_pins {
		tsin_d {
			groups = "tsin_d_sop_z",
				"tsin_d_valid_z",
				"tsin_d_clk_z",
				"tsin_d_din0_z";
			function = "tsin_d";
		};
	};

	//dvb_p_ts1_pins: dvb_p_ts1_pins {
	//	tsin_b {
	//		groups = "tsin_b_sop",
	//		"tsin_b_valid",
	//		"tsin_b_clk",
	//		"tsin_b_fail",
	//		"tsin_b_din0",
	//		"tsin_b_din1",
	//		"tsin_b_din2",
	//		"tsin_b_din3",
	//		"tsin_b_din4",
	//		"tsin_b_din5",
	//		"tsin_b_din6",
	//		"tsin_b_din7";
	//		function = "tsin_b";
	//	};
	//};

}; /* end of pinctrl_periphs */

&audio_data {
	status = "okay";
};

/* Audio Related End */

&dwc3 {
	status = "okay";
};

&usb2_phy_v2 {
	status = "okay";
	portnum = <2>;
};

&usb3_phy_v2 {
	status = "okay";
	portnum = <1>;
	otg = <1>;
};

&dwc2_a {
	status = "okay";
	/** 0: normal, 1: otg+dwc3 host only, 2: otg+dwc3 device only*/
	controller-type = <3>;
};

&ethmac {
	status = "okay";
//	pinctrl-names = "internal_eth_pins", "internal_gpio_pins";
//	pinctrl-0 = <&internal_eth_pins>;
//	pinctrl-1 = <&internal_gpio_pins>;
	mc_val = <0x4be04>;
	led_setting = <0x0>;
	internal_phy=<1>;
};

&uart_E {
	status = "okay";
};

&vdin1 {
	/*compatible = "amlogic, vdin-sc2";*/
	memory-region = <&vdin1_cma_reserved>;
	status = "okay";
	/*vdin write mem color depth support:
	 *bit0:support 8bit
	 *bit1:support 9bit
	 *bit2:support 10bit
	 *bit3:support 12bit
	 */
	tv_bit_mode = <1>;
};

&sd_emmc_c {
	status = "okay";
	emmc {
		caps = "MMC_CAP_8_BIT_DATA",
			 "MMC_CAP_MMC_HIGHSPEED",
			 "MMC_CAP_SD_HIGHSPEED",
			 "MMC_CAP_NONREMOVABLE",
			/* "MMC_CAP_1_8V_DDR", */
			 "MMC_CAP_HW_RESET",
			 "MMC_CAP_ERASE",
			 "MMC_CAP_CMD23",
			 "MMC_CAP_DRIVER_TYPE_D";
		caps2 = "MMC_CAP2_HS200", "MMC_CAP2_HS400";
		f_min = <400000>;
		f_max = <200000000>;
	};
};

&sd_emmc_b {
	status = "disabled";
	sd {
		caps = "MMC_CAP_4_BIT_DATA",
			 "MMC_CAP_MMC_HIGHSPEED",
			 "MMC_CAP_SD_HIGHSPEED";
		f_min = <400000>;
		f_max = <50000000>;
	};
};

&sd_emmc_a {
	status = "okay";
	sdio {
		caps = "MMC_CAP_4_BIT_DATA",
			 "MMC_CAP_MMC_HIGHSPEED",
			 "MMC_CAP_SD_HIGHSPEED",
			 "MMC_CAP_NONREMOVABLE",
			 "MMC_CAP_UHS_SDR12",
			 "MMC_CAP_UHS_SDR25",
			 "MMC_CAP_UHS_SDR50",
			 "MMC_CAP_UHS_SDR104",
			 "MMC_PM_KEEP_POWER",
			 "MMC_CAP_SDIO_IRQ";
		f_min = <400000>;
		f_max = <200000000>;
	};
};

&nand {
	status = "disabled";
	plat-names = "bootloader","nandnormal";
	plat-num = <2>;
	plat-part-0 = <&bootloader>;
	plat-part-1 = <&nandnormal>;
	bootloader: bootloader{
		enable_pad ="ce0";
		busy_pad = "rb0";
		timming_mode = "mode5";
		bch_mode = "bch8_1k";
		t_rea = <20>;
		t_rhoh = <15>;
		chip_num = <1>;
		part_num = <0>;
		rb_detect = <1>;
	};
	nandnormal: nandnormal{
		enable_pad ="ce0";
		busy_pad = "rb0";
		timming_mode = "mode5";
		bch_mode = "bch8_1k";
		plane_mode = "twoplane";
		t_rea = <20>;
		t_rhoh = <15>;
		chip_num = <2>;
		part_num = <3>;
		partition = <&nand_partitions>;
		rb_detect = <1>;
	};
	nand_partitions:nand_partition{
		/*
		 * if bl_mode is 1, tpl size was generate by
		 * fip_copies * fip_size which
		 * will not skip bad when calculating
		 * the partition size;
		 *
		 * if bl_mode is 0,
		 * tpl partition must be comment out.
		 */
		tpl{
			offset=<0x0 0x0>;
			size=<0x0 0x0>;
		};
		logo{
			offset=<0x0 0x0>;
			size=<0x0 0x200000>;
		};
		recovery{
			offset=<0x0 0x0>;
			size=<0x0 0x1000000>;
		};
		boot{
			offset=<0x0 0x0>;
			size=<0x0 0x1000000>;
		};
		system{
			offset=<0x0 0x0>;
			size=<0x0 0x4000000>;
		};
		data{
			offset=<0xffffffff 0xffffffff>;
			size=<0x0 0x0>;
		};
	};
};

&pcie_A {
	reset-gpio = <&gpio GPIOX_7 GPIO_ACTIVE_HIGH>;
	status = "disable";
};

&meson_cooldev {
	status = "okay";
};

&saradc {
	status = "okay";
};

&defendkey {
	status = "disabled";
};

&pwm_ij {
	status = "okay";
};

&amhdmitx {
	status = "okay";
};

&dmx_aucpu {
	status = "okay";
};

&spicc0 {
	status = "disabled";
	pinctrl-names = "default";
	pinctrl-0 = <&spicc0_pins_x>;
	cs-gpios = <&gpio GPIOX_10 0>;
};

&spicc1 {
	status = "disabled";
	pinctrl-names = "default";
	pinctrl-0 = <&spicc1_pins_h>;
	cs-gpios = <&gpio GPIOH_6 0>;
};

&spifc {
	status = "disabled";
	spi-nor@0 {
		cs_gpios = <&gpio GPIOB_14 GPIO_ACTIVE_HIGH>;
	};
};

&pwm_ef {
	status = "okay";
};

/* enable irblaster for CTS */
&irblaster {
	status = "okay";
};

